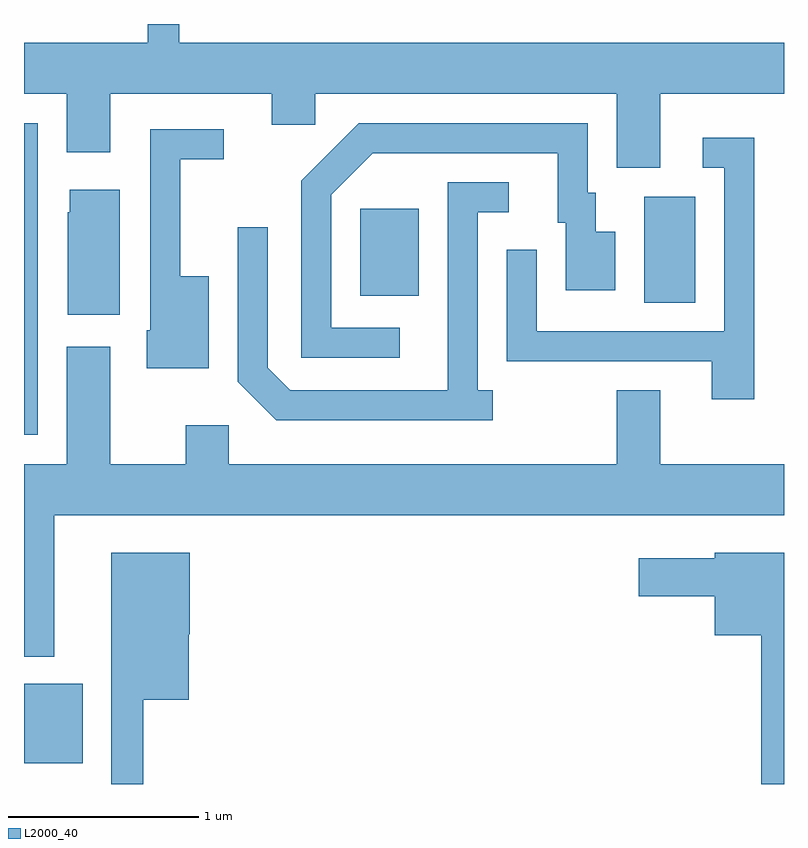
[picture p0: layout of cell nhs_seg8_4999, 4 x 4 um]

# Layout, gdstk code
import gdstk
lib = gdstk.Library(unit=1e-6, precision=1e-09)
def R(c, l, rs):  # rectangles x0, y0, x1, y1
    for r in rs: c.add(gdstk.rectangle(r[:2], r[2:], *l))
def P(c, l, *ps):  # polygons
    for p in ps: c.add(gdstk.Polygon(p, *l))
L2000_40 = (2000, 40)

nhs_seg8_4999 = lib.new_cell('nhs_seg8_4999')
R(nhs_seg8_4999, L2000_40, [(335.611,1828.451,335.919,1828.869), (335.611,1830.181,335.684,1831.819), (338.876,1830.876,339.144,1831.434), (337.381,1830.911,337.689,1831.369)])
P(nhs_seg8_4999, L2000_40, [(338.959,1831.976),(339.611,1831.976),(339.611,1832.244),(336.429,1832.244),(336.429,1832.342),(336.261,1832.342),(336.261,1832.244),(335.611,1832.244),(335.611,1831.976),(335.836,1831.976),(335.836,1831.666),(336.064,1831.666),(336.064,1831.976),(336.916,1831.976),(336.916,1831.811),(337.144,1831.811),(337.144,1831.976),(338.731,1831.976),(338.731,1831.586),(338.959,1831.586)],
  [(337.588,1830.744),(337.229,1830.744),(337.229,1831.444),(337.447,1831.661),(338.421,1831.661),(338.421,1831.296),(338.461,1831.296),(338.461,1830.941),(338.724,1830.941),(338.724,1831.249),(338.619,1831.249),(338.619,1831.454),(338.579,1831.454),(338.579,1831.819),(337.374,1831.819),(337.071,1831.517),(337.071,1830.586),(337.588,1830.586)],
  [(336.584,1831.014),(336.434,1831.014),(336.434,1831.631),(336.663,1831.631),(336.663,1831.789),(336.276,1831.789),(336.276,1830.729),(336.256,1830.729),(336.256,1830.531),(336.584,1830.531)],
  [(339.454,1831.744),(339.183,1831.744),(339.183,1831.586),(339.296,1831.586),(339.296,1830.724),(338.309,1830.724),(338.309,1831.153),(338.151,1831.153),(338.151,1830.566),(339.231,1830.566),(339.231,1830.366),(339.454,1830.366)],
  [(338.078,1830.414),(337.999,1830.414),(337.999,1831.351),(338.163,1831.351),(338.163,1831.509),(337.841,1831.509),(337.841,1830.414),(337.012,1830.414),(336.894,1830.532),(336.894,1831.273),(336.736,1831.273),(336.736,1830.459),(336.939,1830.256),(338.078,1830.256)],
  [(336.114,1831.469),(335.851,1831.469),(335.851,1831.35),(335.841,1831.35),(335.841,1830.811),(336.114,1830.811)],
  [(335.769,1829.756),(339.611,1829.756),(339.611,1830.024),(338.959,1830.024),(338.959,1830.414),(338.731,1830.414),(338.731,1830.024),(336.689,1830.024),(336.689,1830.229),(336.461,1830.229),(336.461,1830.024),(336.064,1830.024),(336.064,1830.644),(335.836,1830.644),(335.836,1830.024),(335.611,1830.024),(335.611,1829.013),(335.769,1829.013)],
  [(336.239,1828.786),(336.479,1828.786),(336.479,1829.13),(336.484,1829.13),(336.484,1829.559),(336.071,1829.559),(336.071,1828.342),(336.239,1828.342)],
  [(339.611,1829.559),(339.246,1829.559),(339.246,1829.529),(338.846,1829.529),(338.846,1829.331),(339.246,1829.331),(339.246,1829.126),(339.491,1829.126),(339.491,1828.342),(339.611,1828.342)])

lib.write_gds('nhs_seg8_4999.gds')
